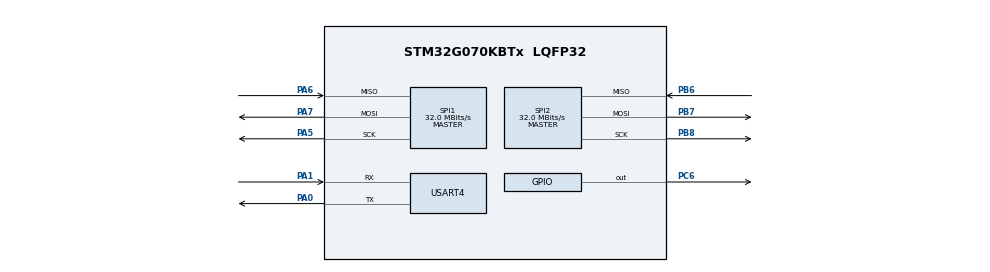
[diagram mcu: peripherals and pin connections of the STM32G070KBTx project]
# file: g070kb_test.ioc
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Mcu.Family=STM32G0
Mcu.Name=STM32G070KBTx
Mcu.Package=LQFP32
PA0.Mode=Asynchronous
PA0.Signal=USART4_TX
PA1.Mode=Asynchronous
PA1.Signal=USART4_RX
PA13.Mode=Serial_Wire
PA13.Signal=SYS_SWDIO
PA14-BOOT0.Mode=Serial_Wire
PA14-BOOT0.Signal=SYS_SWCLK
PA5.Mode=Full_Duplex_Master
PA5.Signal=SPI1_SCK
PA6.Mode=Full_Duplex_Master
PA6.Signal=SPI1_MISO
PA7.Mode=Full_Duplex_Master
PA7.Signal=SPI1_MOSI
PB6.Mode=Full_Duplex_Master
PB6.Signal=SPI2_MISO
PB7.Mode=Full_Duplex_Master
PB7.Signal=SPI2_MOSI
PB8.Mode=Full_Duplex_Master
PB8.Signal=SPI2_SCK
PC6.Signal=GPIO_Output
ProjectManager.HeapSize=0x200
ProjectManager.StackSize=0x400
ProjectManager.TargetToolchain=STM32CubeIDE
RCC.ADCFreq_Value=64000000
RCC.AHBFreq_Value=64000000
RCC.CortexFreq_Value=64000000
RCC.EXTERNAL_CLOCK_VALUE=48000
RCC.HCLKFreq_Value=64000000
RCC.HSE_VALUE=8000000
RCC.HSI_VALUE=16000000
RCC.LSE_VALUE=32768
RCC.SYSCLKFreq_VALUE=64000000
RCC.SYSCLKSource=RCC_SYSCLKSOURCE_PLLCLK
RCC.VCOOutputFreq_Value=128000000
SPI1.CalculateBaudRate=32.0 MBits/s
SPI1.DataSize=SPI_DATASIZE_8BIT
SPI1.Direction=SPI_DIRECTION_2LINES
SPI1.Mode=SPI_MODE_MASTER
SPI1.VirtualType=VM_MASTER
SPI2.CalculateBaudRate=32.0 MBits/s
SPI2.DataSize=SPI_DATASIZE_8BIT
SPI2.Direction=SPI_DIRECTION_2LINES
SPI2.Mode=SPI_MODE_MASTER
SPI2.VirtualType=VM_MASTER
USART4.VirtualMode-Asynchronous=VM_ASYNC
VP_SYS_VS_DBSignals.Mode=DisableDeadBatterySignals
board=custom

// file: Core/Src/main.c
/* USER CODE BEGIN Header */
/**
 ******************************************************************************
 * @file           : main.c
 * @brief          : Main program body
 ******************************************************************************
 * @attention
 *
 * Copyright (c) 2023 STMicroelectronics.
 * All rights reserved.
 *
 * This software is licensed under terms that can be found in the LICENSE file
 * in the root directory of this software component.
 * If no LICENSE file comes with this software, it is provided AS-IS.
 *
 ******************************************************************************
 */
/* USER CODE END Header */
#include "main.h"

/* USER CODE BEGIN Includes */
#include <stdio.h>
#include <string.h>
#include "ssd1306.h"
#include "horse_anim.h"
/* USER CODE END Includes */

/* USER CODE BEGIN PD */
//#define EPD_4IN2
//#define EPD_2IN13
/* USER CODE END PD */

SPI_HandleTypeDef hspi1;
SPI_HandleTypeDef hspi2;

UART_HandleTypeDef huart4;

/* USER CODE BEGIN PV */
I2C_HandleTypeDef hi2c1;
/* USER CODE END PV */

void SystemClock_Config (void);
static void MX_GPIO_Init (void);
static void MX_USART4_UART_Init (void);
static void MX_SPI1_Init (void);
static void MX_SPI2_Init (void);
/* USER CODE BEGIN PFP */
static void I2C1_Init (void);

#if defined (__ICCARM__) || defined (__ARMCC_VERSION)
#define PUTCHAR_PROTOTYPE int fputc(int ch, FILE *f)
#elif defined(__GNUC__)
/* With GCC, small printf (option LD Linker->Libraries->Small printf
 set to 'Yes') calls __io_putchar() */
#define PUTCHAR_PROTOTYPE int __io_putchar(int ch)
#endif /* __ICCARM__ || __ARMCC_VERSION */

/* USER CODE END PFP */

/* USER CODE BEGIN 0 */
#define UartHandle  huart4
extern const unsigned char gImage_BW1[];
extern const unsigned char gImage_R1[];

extern const unsigned char gImage_BW2[];
extern const unsigned char gImage_R2[];

/* USER CODE END 0 */

int main (void)
{

  /* MCU Configuration--------------------------------------------------------*/

  /* Reset of all peripherals, Initializes the Flash interface and the Systick. */
  HAL_Init ();

  /* Configure the system clock */
  SystemClock_Config ();

  /* Initialize all configured peripherals */
  MX_GPIO_Init ();
  MX_USART4_UART_Init ();
  MX_SPI1_Init ();
  MX_SPI2_Init ();
  /* USER CODE BEGIN 2 */
//  I2C1_Init ();

#ifdef EPD_2IN13
  DEV_Module_Init ();
  EPD_2IN13B_V3_Init ();
  HAL_Delay (500);
  EPD_2IN13B_V3_Clear ();
  HAL_Delay (500);
  EPD_2IN13B_V3_Display (gImage_BW2, gImage_R2);
  EPD_2IN13B_V3_Sleep ();
#endif

#ifdef EPD_4IN2
  DEV_Module_Init ();
  EPD_4IN2B_V2_Init ();
  EPD_4IN2B_V2_Clear ();
  EPD_4IN2B_V2_Display (gImage_BW1, gImage_R1);
  EPD_4IN2B_V2_Sleep ();
#endif
  /* USER CODE END 2 */

  /* Infinite loop */
  while (1)
    {

      /* USER CODE BEGIN 3 */
      HAL_GPIO_TogglePin (GPIOC, GPIO_PIN_6);
      HAL_Delay (1000);
    }
  /* USER CODE END 3 */
}

void SystemClock_Config (void)
{
  RCC_OscInitTypeDef RCC_OscInitStruct = { 0 };
  RCC_ClkInitTypeDef RCC_ClkInitStruct = { 0 };

  /** Configure the main internal regulator output voltage
   */
  HAL_PWREx_ControlVoltageScaling (PWR_REGULATOR_VOLTAGE_SCALE1);

  /** Initializes the RCC Oscillators according to the specified parameters
   * in the RCC_OscInitTypeDef structure.
   */
  RCC_OscInitStruct.OscillatorType = RCC_OSCILLATORTYPE_HSI;
  RCC_OscInitStruct.HSIState = RCC_HSI_ON;
  RCC_OscInitStruct.HSIDiv = RCC_HSI_DIV1;
  RCC_OscInitStruct.HSICalibrationValue = RCC_HSICALIBRATION_DEFAULT;
  RCC_OscInitStruct.PLL.PLLState = RCC_PLL_ON;
  RCC_OscInitStruct.PLL.PLLSource = RCC_PLLSOURCE_HSI;
  RCC_OscInitStruct.PLL.PLLM = RCC_PLLM_DIV1;
  RCC_OscInitStruct.PLL.PLLN = 8;
  RCC_OscInitStruct.PLL.PLLP = RCC_PLLP_DIV2;
  RCC_OscInitStruct.PLL.PLLR = RCC_PLLR_DIV2;
  if (HAL_RCC_OscConfig (&RCC_OscInitStruct) != HAL_OK)
    {
      Error_Handler ();
    }

  /** Initializes the CPU, AHB and APB buses clocks
   */
  RCC_ClkInitStruct.ClockType = RCC_CLOCKTYPE_HCLK | RCC_CLOCKTYPE_SYSCLK | RCC_CLOCKTYPE_PCLK1;
  RCC_ClkInitStruct.SYSCLKSource = RCC_SYSCLKSOURCE_PLLCLK;
  RCC_ClkInitStruct.AHBCLKDivider = RCC_SYSCLK_DIV1;
  RCC_ClkInitStruct.APB1CLKDivider = RCC_HCLK_DIV1;

  if (HAL_RCC_ClockConfig (&RCC_ClkInitStruct, FLASH_LATENCY_2) != HAL_OK)
    {
      Error_Handler ();
    }
}

static void MX_SPI1_Init (void)
{

  /* SPI1 parameter configuration*/
  hspi1.Instance = SPI1;
  hspi1.Init.Mode = SPI_MODE_MASTER;
  hspi1.Init.Direction = SPI_DIRECTION_2LINES;
  hspi1.Init.DataSize = SPI_DATASIZE_8BIT;
  hspi1.Init.CLKPolarity = SPI_POLARITY_LOW;
  hspi1.Init.CLKPhase = SPI_PHASE_1EDGE;
  hspi1.Init.NSS = SPI_NSS_SOFT;
  hspi1.Init.BaudRatePrescaler = SPI_BAUDRATEPRESCALER_32;
  hspi1.Init.FirstBit = SPI_FIRSTBIT_MSB;
  hspi1.Init.TIMode = SPI_TIMODE_DISABLE;
  hspi1.Init.CRCCalculation = SPI_CRCCALCULATION_DISABLE;
  hspi1.Init.CRCPolynomial = 7;
  hspi1.Init.CRCLength = SPI_CRC_LENGTH_DATASIZE;
  hspi1.Init.NSSPMode = SPI_NSS_PULSE_ENABLE;
  if (HAL_SPI_Init (&hspi1) != HAL_OK)
    {
      Error_Handler ();
    }

}

static void MX_SPI2_Init (void)
{

  /* SPI2 parameter configuration*/
  hspi2.Instance = SPI2;
  hspi2.Init.Mode = SPI_MODE_MASTER;
  hspi2.Init.Direction = SPI_DIRECTION_2LINES;
  hspi2.Init.DataSize = SPI_DATASIZE_8BIT;
  hspi2.Init.CLKPolarity = SPI_POLARITY_LOW;
  hspi2.Init.CLKPhase = SPI_PHASE_1EDGE;
  hspi2.Init.NSS = SPI_NSS_SOFT;
  hspi2.Init.BaudRatePrescaler = SPI_BAUDRATEPRESCALER_2;
  hspi2.Init.FirstBit = SPI_FIRSTBIT_MSB;
  hspi2.Init.TIMode = SPI_TIMODE_DISABLE;
  hspi2.Init.CRCCalculation = SPI_CRCCALCULATION_DISABLE;
  hspi2.Init.CRCPolynomial = 7;
  hspi2.Init.CRCLength = SPI_CRC_LENGTH_DATASIZE;
  hspi2.Init.NSSPMode = SPI_NSS_PULSE_ENABLE;
  if (HAL_SPI_Init (&hspi2) != HAL_OK)
    {
      Error_Handler ();
    }

}

static void MX_USART4_UART_Init (void)
{

  huart4.Instance = USART4;
  huart4.Init.BaudRate = 115200;
  huart4.Init.WordLength = UART_WORDLENGTH_8B;
  huart4.Init.StopBits = UART_STOPBITS_1;
  huart4.Init.Parity = UART_PARITY_NONE;
  huart4.Init.Mode = UART_MODE_TX_RX;
  huart4.Init.HwFlowCtl = UART_HWCONTROL_NONE;
  huart4.Init.OverSampling = UART_OVERSAMPLING_16;
  huart4.Init.OneBitSampling = UART_ONE_BIT_SAMPLE_DISABLE;
  huart4.Init.ClockPrescaler = UART_PRESCALER_DIV1;
  huart4.AdvancedInit.AdvFeatureInit = UART_ADVFEATURE_NO_INIT;
  if (HAL_UART_Init (&huart4) != HAL_OK)
    {
      Error_Handler ();
    }

}

static void MX_GPIO_Init (void)
{
  GPIO_InitTypeDef GPIO_InitStruct = { 0 };

  /* GPIO Ports Clock Enable */
  __HAL_RCC_GPIOA_CLK_ENABLE();
  __HAL_RCC_GPIOC_CLK_ENABLE();
  __HAL_RCC_GPIOB_CLK_ENABLE();

  /*Configure GPIO pin Output Level */

  HAL_GPIO_WritePin (GPIOA, GPIO_PIN_2 | GPIO_PIN_3 | GPIO_PIN_4, GPIO_PIN_RESET);
  HAL_GPIO_WritePin (GPIOC, GPIO_PIN_6, GPIO_PIN_RESET);

  /*Configure GPIO pin : PC6 */
  GPIO_InitStruct.Pin = GPIO_PIN_6;
  GPIO_InitStruct.Mode = GPIO_MODE_OUTPUT_PP;
  GPIO_InitStruct.Pull = GPIO_NOPULL;
  GPIO_InitStruct.Speed = GPIO_SPEED_FREQ_LOW;
  HAL_GPIO_Init (GPIOC, &GPIO_InitStruct);

  /* USER CODE BEGIN MX_GPIO_Init_2 */
  GPIO_InitStruct.Pin = GPIO_PIN_2 | GPIO_PIN_3 | GPIO_PIN_4;
  HAL_GPIO_Init (GPIOA, &GPIO_InitStruct);

  GPIO_InitStruct.Pin = GPIO_PIN_1;
  GPIO_InitStruct.Mode = GPIO_MODE_INPUT;
  GPIO_InitStruct.Pull = GPIO_NOPULL;
  HAL_GPIO_Init (GPIOA, &GPIO_InitStruct);
  /* USER CODE END MX_GPIO_Init_2 */
}

/* USER CODE BEGIN 4 */
PUTCHAR_PROTOTYPE
{
  /* Place your implementation of fputc here */
  /* e.g. write a character to the USART1 and Loop until the end of transmission */
  HAL_UART_Transmit (&UartHandle, (uint8_t*) &ch, 1, 0xFFFF);

  return ch;
}

static void I2C1_Init (void)
{
  hi2c1.Instance = I2C1;
  hi2c1.Init.Timing = 0x00303D5B;
  hi2c1.Init.OwnAddress1 = 0x30F;
  hi2c1.Init.AddressingMode = I2C_ADDRESSINGMODE_7BIT;
  hi2c1.Init.DualAddressMode = I2C_DUALADDRESS_DISABLE;
  hi2c1.Init.OwnAddress2 = 0;
  hi2c1.Init.OwnAddress2Masks = I2C_OA2_NOMASK;
  hi2c1.Init.GeneralCallMode = I2C_GENERALCALL_DISABLE;
  hi2c1.Init.NoStretchMode = I2C_NOSTRETCH_DISABLE;
  if (HAL_I2C_Init (&hi2c1) != HAL_OK)
    {
      Error_Handler ();
    }

  if (HAL_I2CEx_ConfigAnalogFilter (&hi2c1, I2C_ANALOGFILTER_ENABLE) != HAL_OK)
    {
      Error_Handler ();
    }

  if (HAL_I2CEx_ConfigDigitalFilter (&hi2c1, 0) != HAL_OK)
    {
      Error_Handler ();
    }

//  HAL_I2CEx_EnableFastModePlus (I2C_FASTMODEPLUS_I2C1);
}

/* USER CODE END 4 */

void Error_Handler (void)
{
  /* USER CODE BEGIN Error_Handler_Debug */
  /* User can add his own implementation to report the HAL error return state */
  __disable_irq ();
  printf ("error.\r\n");
  while (1)
    {

    }
  /* USER CODE END Error_Handler_Debug */
}
